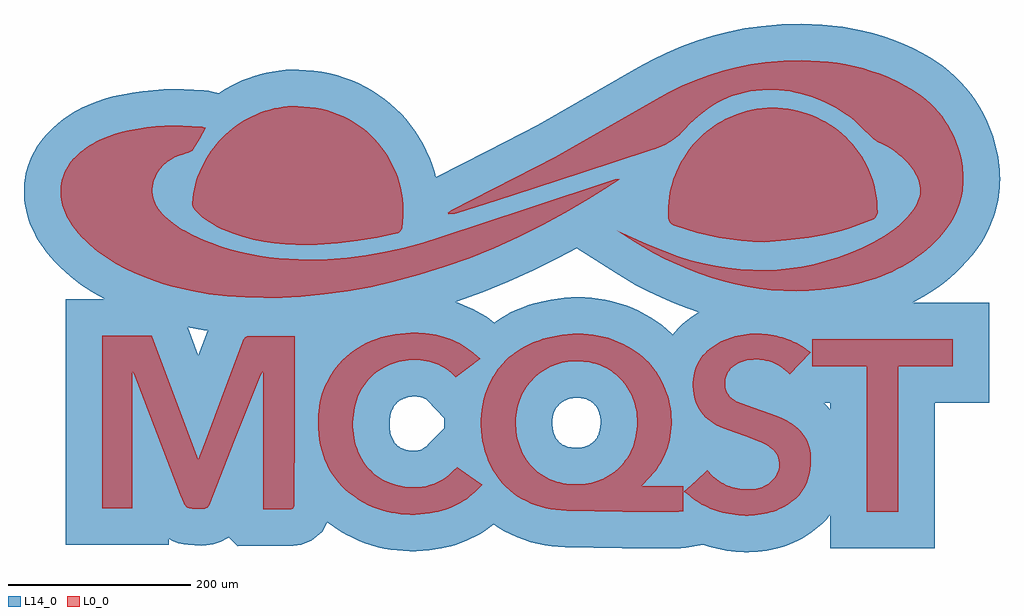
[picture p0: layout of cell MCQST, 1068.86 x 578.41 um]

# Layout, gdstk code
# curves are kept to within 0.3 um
import gdstk
lib = gdstk.Library(unit=1e-6, precision=1e-09)
def P(c, l, *ps):  # polygons
    for p in ps: c.add(gdstk.Polygon(p, *l))
L0_0 = (0, 0)
L14_0 = (14, 0)

mcqst = lib.new_cell('MCQST')
P(mcqst, L0_0, [(388.625,-245.25),(388.625,-85.7),(328.925,-85.7),(328.925,-56.3),(482.725,-56.3),(482.725,-85.45),(423.025,-85.45),(423.025,-245.25)],
  [(-244.875,-242.5),(-272.475,-242.4),(-272.475,-92.5),(-273.625,-92),(-276.275,-97.65),(-331.025,-236.85),(-332.825,-239.55),(-335.175,-241.2),(-340.325,-242),(-350.325,-241.6),(-353.575,-241),(-357.075,-239.05),(-359.675,-235.3),(-413.425,-95),(-416.125,-91.75),(-416.125,-241.15),(-448.725,-241.15),(-448.725,-52.5),(-394.375,-52.5),(-343.725,-188.1),(-293.475,-55.65),(-291.875,-53.95),(-288.425,-52.9),(-237.925,-52.9),(-238.275,-237.3),(-238.875,-240.05),(-240.325,-241.8)],
  [(182.775,-244.95),(121.325,-244.8),(59.875,-243.8),(48.175,-242.9),(31.475,-239.65),(20.975,-236.05),(11.075,-231.25),(6.375,-228.4),(-2.525,-221.65),(-6.725,-217.8),(-14.425,-208.95),(-17.975,-204),(-23.425,-194.6),(-25.775,-189.6),(-29.625,-179.05),(-32.375,-167.95),(-33.925,-156.5),(-34.225,-144.85),(-33.275,-133.1),(-30.975,-121.55),(-29.325,-115.85),(-24.925,-104.8),(-22.175,-99.45),(-17.375,-91.75),(-11.725,-84.45),(-7.775,-80.15),(71.625,-80.15),(64.575,-80.45),(57.775,-81.4),(51.225,-83),(44.975,-85.15),(39.075,-87.85),(33.525,-91.1),(28.375,-94.85),(23.625,-99.05),(15.475,-108.8),(10.725,-117.15),(8.225,-123.15),(6.275,-129.45),(4.975,-136.05),(4.275,-142.95),(4.275,-150.25),(6.025,-164.55),(10.125,-177.4),(14.575,-186),(18.175,-191.2),(22.275,-195.95),(26.825,-200.25),(31.825,-204),(37.275,-207.3),(43.075,-210),(49.275,-212.15),(55.825,-213.75),(62.725,-214.7),(69.925,-215.05),(77.125,-214.75),(87.375,-213.1),(93.775,-211.25),(99.875,-208.85),(108.275,-204.15),(115.775,-198.35),(122.275,-191.45),(127.725,-183.55),(130.675,-177.75),(133.125,-171.6),(135.725,-161.65),(136.725,-154.65),(137.025,-143.75),(135.875,-133.4),(133.375,-123.65),(129.625,-114.7),(126.425,-109.15),(122.775,-104.05),(118.625,-99.35),(111.575,-93.1),(106.375,-89.6),(100.775,-86.6),(94.825,-84.1),(88.575,-82.2),(81.975,-80.9),(71.625,-80.15),(-7.775,-80.15),(-0.325,-73.45),(7.725,-67.65),(16.675,-62.55),(23.225,-59.6),(30.175,-56.95),(41.375,-53.75),(55.225,-51.25),(66.675,-50.2),(77.975,-50.15),(89.075,-51.15),(105.325,-54.75),(110.625,-56.5),(121.025,-60.95),(131.175,-66.6),(139.725,-72.55),(146.425,-78.4),(152.425,-84.8),(160.175,-95.35),(164.475,-102.95),(168.025,-110.9),(171.975,-123.35),(174.275,-136.2),(174.775,-144.85),(174.525,-153.55),(173.475,-162.2),(171.625,-170.7),(167.225,-183.1),(163.225,-191),(158.825,-197.8),(154.275,-203.5),(141.625,-217.35),(187.325,-217.35),(187.325,-244.35)],
  [(255.275,-249.2),(244.575,-248.45),(234.025,-246.7),(227.175,-244.95),(217.275,-241.5),(205.125,-235.4),(187.975,-223.1),(213.975,-199.8),(219.975,-206.05),(226.525,-211.2),(233.575,-215.25),(241.175,-218.2),(249.325,-220),(256.725,-220.65),(265.575,-220.2),(273.975,-217.95),(277.925,-216.05),(283.475,-212.05),(287.125,-208.25),(290.025,-203.7),(291.925,-198.8),(292.675,-193.85),(292.325,-188.9),(290.875,-184.15),(289.775,-181.9),(286.675,-177.75),(282.425,-174.25),(279.375,-172.4),(269.475,-167.65),(227.425,-151.9),(217.425,-146.05),(211.875,-141.35),(207.175,-136),(205.225,-133.05),(203.425,-129.95),(200.675,-123.3),(199.625,-119.65),(198.375,-111.9),(198.375,-99.9),(200.625,-89.15),(204.975,-79.6),(211.375,-71.25),(216.775,-66.35),(223.025,-61.95),(229.225,-58.5),(235.025,-56),(241.025,-53.9),(250.425,-51.6),(256.875,-50.65),(266.725,-50.05),(279.925,-50.8),(292.875,-53.2),(305.225,-57.35),(316.625,-63.1),(326.975,-70.2),(304.325,-94.35),(297.325,-88.3),(291.375,-84.45),(284.925,-81.5),(278.075,-79.45),(271.075,-78.4),(260.525,-78.7),(253.825,-80.15),(247.525,-82.65),(240.425,-87.5),(237.275,-91.1),(235.625,-93.85),(233.975,-98.45),(233.425,-101.95),(233.375,-105.6),(234.175,-110.7),(235.975,-115.15),(237.725,-117.75),(241.075,-121.1),(243.775,-122.95),(265.025,-131.35),(294.725,-142.1),(304.525,-147.45),(312.975,-153.85),(317.675,-158.8),(321.525,-164.35),(323.125,-167.4),(325.575,-174.05),(326.425,-177.65),(327.275,-185.5),(326.725,-198.35),(324.025,-210.05),(318.975,-220.45),(314.325,-226.7),(308.625,-232.3),(305.325,-234.9),(295.125,-241.1),(282.775,-245.8),(269.325,-248.5)],
  [(-111.325,-248.15),(-121.875,-247.55),(-132.225,-246.05),(-142.425,-243.5),(-152.475,-239.85),(-162.275,-235.15),(-172.375,-228.85),(-177.325,-225.2),(-186.175,-217.25),(-193.725,-208.5),(-199.975,-199),(-204.925,-188.7),(-206.925,-183.3),(-209.975,-171.95),(-211.825,-159.95),(-212.425,-148.8),(-212.175,-139.2),(-211.175,-129.85),(-209.325,-120.8),(-206.625,-112),(-203.025,-103.5),(-198.425,-95.3),(-192.875,-87.45),(-185.775,-79.35),(-177.375,-71.7),(-172.975,-68.35),(-163.725,-62.5),(-154.025,-57.8),(-143.825,-54.15),(-133.175,-51.55),(-122.125,-49.85),(-110.725,-49.1),(-94.725,-49.6),(-83.125,-51.3),(-75.525,-53.15),(-68.125,-55.65),(-60.875,-58.75),(-50.375,-64.65),(-34.525,-77.5),(-61.425,-98),(-68.825,-91),(-74.375,-87.2),(-80.375,-84.1),(-89.925,-80.8),(-96.575,-79.45),(-103.375,-78.8),(-113.725,-79.05),(-120.575,-80.1),(-127.325,-81.8),(-133.875,-84.15),(-140.175,-87.15),(-148.975,-92.85),(-156.775,-100),(-163.475,-108.85),(-168.675,-119.3),(-172.175,-130.85),(-173.925,-143.1),(-173.925,-155.6),(-172.025,-168),(-169.675,-175.95),(-166.425,-183.6),(-162.325,-190.75),(-159.925,-194.15),(-154.375,-200.35),(-147.925,-205.8),(-140.525,-210.35),(-132.075,-213.9),(-127.075,-215.45),(-117.275,-217.55),(-107.675,-218.3),(-98.375,-217.7),(-89.325,-215.65),(-80.575,-212.15),(-76.325,-209.8),(-68.125,-203.95),(-60.225,-196.45),(-32.775,-215.3),(-40.975,-223.85),(-49.775,-231.1),(-59.325,-237.05),(-66.075,-240.25),(-76.825,-244),(-84.425,-245.7),(-100.625,-247.8)],
  [(-271.725,-10.75),(-291.875,-10.3),(-311.925,-9),(-331.825,-6.65),(-351.625,-3.25),(-361.525,-1.05),(-371.325,1.45),(-390.875,7.45),(-412.975,16.1),(-423.625,21.15),(-438.975,29.75),(-448.775,36.3),(-458.125,43.5),(-471.275,55.75),(-479.025,64.75),(-484.025,72),(-488.225,79.65),(-491.425,87.85),(-493.575,96.65),(-494.425,104.05),(-494.225,111.1),(-492.225,121),(-488.275,130.15),(-484.625,135.85),(-480.275,141.3),(-472.225,149.15),(-462.675,156.2),(-455.975,160.1),(-448.975,163.5),(-434.375,168.85),(-426.825,170.95),(-409.425,174.55),(-389.975,176.9),(-380.175,177.5),(-360.625,177.6),(-340.975,176.6),(-335.175,175.35),(-342.025,163.3),(-349.025,151.85),(-350.425,150.3),(-354.575,148.1),(-365.125,144.75),(-372.825,141.15),(-381.325,134.8),(-387.775,126.95),(-389.525,123.95),(-392.075,117.8),(-393.525,111.45),(-393.775,108.3),(-393.425,101.95),(-392.775,98.8),(-391.875,95.7),(-389.175,89.75),(-387.425,86.9),(-382.975,81.45),(-374.175,73.45),(-367.925,68.75),(-358.075,62.5),(-351.175,58.8),(-336.975,52.35),(-319.325,45.75),(-298.325,39.75),(-276.975,35.5),(-255.275,32.7),(-244.325,31.8),(-222.875,31),(-201.575,31.45),(-180.525,33.1),(-159.575,35.85),(-138.825,39.6),(-118.175,44.3),(-97.675,49.8),(-77.275,56.05),(111.475,118.45),(114.475,119.25),(117.925,119.15),(83.675,97.2),(58.475,82.35),(32.875,68.5),(6.825,55.6),(-19.625,43.7),(-46.475,32.85),(-73.825,23.05),(-101.575,14.35),(-129.825,6.75),(-154.925,1.05),(-180.125,-3.6),(-205.575,-7.1),(-231.225,-9.4),(-251.525,-10.4)],
  [(276.025,50.05),(251.025,51.75),(226.375,55.25),(202.125,60.7),(190.125,64.2),(178.275,68.2),(174.925,69.8),(172.775,71.9),(171.525,74.7),(170.925,83.7),(172.075,99.35),(175.275,114.3),(178.525,123.9),(182.525,133.05),(187.325,141.8),(195.875,154),(202.425,161.5),(213.325,171.6),(221.275,177.5),(229.725,182.75),(238.625,187.25),(252.675,192.55),(262.525,195),(274.025,196.8),(285.475,197.4),(296.725,196.9),(307.775,195.3),(318.525,192.65),(333.925,186.85),(343.625,181.8),(352.825,175.9),(361.425,169.1),(369.325,161.5),(379.825,148.7),(388.425,134.35),(394.925,118.55),(397.975,107.25),(399.075,101.15),(400.225,88.8),(400.475,82.55),(400.075,80.6),(398.325,77.55),(396.725,76),(387.375,71.85),(369.975,65.45),(352.175,60.35),(343.175,58.25),(324.875,55.05)],
  [(-224.925,47.3),(-248.575,48.05),(-260.275,49.15),(-271.875,50.85),(-283.425,53.1),(-294.875,56.05),(-306.275,59.7),(-323.175,67.1),(-333.625,73.45),(-340.825,79.15),(-347.475,85.75),(-348.625,87.3),(-350.025,91.15),(-349.725,98.1),(-348.075,108.15),(-345.525,117.95),(-342.075,127.45),(-335.325,141),(-329.875,149.5),(-323.725,157.5),(-316.925,164.95),(-309.525,171.85),(-297.425,180.9),(-288.775,186.05),(-279.725,190.45),(-265.425,195.45),(-255.525,197.65),(-245.425,198.9),(-227.925,198.75),(-221.375,198.2),(-214.975,197.35),(-202.525,194.55),(-190.625,190.5),(-179.425,185.2),(-168.925,178.85),(-163.975,175.25),(-154.725,167.35),(-146.325,158.55),(-138.925,148.9),(-132.575,138.5),(-127.325,127.45),(-123.275,115.85),(-120.475,103.75),(-119.575,97.55),(-118.825,84.85),(-119.475,71.9),(-120.375,65.3),(-121.675,62.8),(-124.075,60.6),(-125.775,59.85),(-147.375,55.2),(-169.075,51.55),(-190.975,48.95),(-213.025,47.55)],
  [(311.125,-3.35),(297.575,-3.1),(270.825,-0.75),(257.575,1.35),(244.425,4.05),(218.475,11.1),(192.875,20.35),(167.675,31.75),(155.225,38.25),(134.925,50.25),(115.325,62.6),(148.075,47.95),(181.425,34.8),(195.175,30.6),(208.925,27.1),(222.675,24.25),(236.325,22.1),(249.975,20.6),(263.525,19.8),(277.075,19.65),(290.575,20.25),(304.025,21.5),(317.425,23.5),(330.775,26.2),(344.025,29.6),(357.275,33.75),(370.425,38.6),(383.525,44.2),(396.575,50.6),(408.125,57.15),(418.975,64.7),(428.975,73.4),(437.875,83.4),(443.325,91.95),(446.425,100.4),(447.125,106.05),(446.175,114.65),(442.825,123.4),(437.425,132.1),(431.225,139.3),(424.325,145.65),(411.375,154.45),(397.625,161.75),(375.275,182.95),(364.625,190.95),(349.175,200.15),(338.525,205.25),(321.975,211.25),(310.575,214.1),(292.875,216.6),(280.675,217),(273.875,216.75),(267.175,216.15),(254.275,213.95),(242.025,210.4),(230.325,205.55),(219.225,199.5),(213.925,196),(203.725,188.15),(198.875,183.8),(181.375,166.15),(172.475,159.8),(162.775,154.8),(152.025,150.85),(-29.525,91.5),(-62.825,81.5),(-69.525,80.55),(-70.175,82.35),(-65.275,85.75),(47.725,143.55),(157.775,206.7),(171.875,214.4),(186.175,221.4),(200.725,227.7),(215.525,233.2),(230.575,237.95),(245.925,241.85),(261.575,244.9),(277.475,247.05),(297.425,248.7),(317.225,249.2),(336.775,248.5),(356.175,246.45),(375.275,242.9),(384.725,240.5),(403.425,234.4),(421.775,226.45),(430.825,221.75),(442.525,214.6),(453.125,206.6),(462.625,197.75),(470.975,188),(478.125,177.4),(484.075,165.9),(488.825,153.45),(492.275,140.15),(493.875,129.65),(494.425,119.55),(493.475,106.6),(491.575,97.35),(488.725,88.35),(483.525,76.95),(476.725,66.1),(468.425,55.75),(458.775,46),(448.725,37.45),(438.125,29.9),(427.125,23.25),(415.675,17.5),(403.825,12.55),(391.675,8.4),(379.175,4.9),(352.375,-0.25),(324.775,-2.95)])
P(mcqst, L14_0, [(254.43,-289.2),(240.088,-288.202),(230.269,-286.741),(220.67,-284.664),(209.275,-281.189),(190.15,-284.444),(184.541,-284.954),(120.951,-284.8),(58.533,-283.784),(43.311,-282.61),(35.862,-281.556),(20.712,-278.192),(5.729,-273.052),(-8.549,-266.13),(-20.112,-258.674),(-31.051,-266.73),(-40.577,-272.404),(-55.578,-279.133),(-66.379,-282.629),(-77.094,-285.032),(-90.84,-287.06),(-104.723,-288.032),(-118.9,-287.892),(-125.876,-287.361),(-139.846,-285.334),(-154.158,-281.756),(-161.13,-279.408),(-174.667,-273.732),(-181.456,-270.269),(-195.281,-261.658),(-202.268,-256.494),(-208.016,-266.944),(-219.705,-276.684),(-230.783,-281.02),(-239.665,-282.5),(-300.517,-282.599),(-310.266,-272.919),(-318.933,-277.95),(-327.368,-280.762),(-334.941,-281.876),(-347.653,-281.82),(-359.464,-280.7),(-365.355,-279.326),(-371.989,-276.774),(-376.125,-274.436),(-376.125,-281.15),(-488.725,-281.15),(-488.725,-118.717),(-106.825,-118.717),(-112.765,-119.342),(-118.32,-121.009),(-123.411,-123.734),(-127.382,-127.156),(-130.061,-131.017),(-132.023,-135.582),(-133.548,-141.712),(-134.125,-148.219),(-133.787,-154.717),(-132.555,-160.675),(-130.619,-165.736),(-127.443,-170.659),(-123.358,-174.104),(-119.031,-176.066),(-113.74,-177.524),(-107.266,-178.282),(-101.206,-177.426),(-95.408,-174.461),(-91.672,-171.368),(-74.129,-153.599),(-74.174,-142.838),(-92.853,-123.035),(-97.992,-120.158),(71.331,-120.158),(65.087,-120.736),(59.902,-122.275),(55.429,-124.577),(51.75,-127.514),(48.631,-131.214),(46.344,-135.517),(44.823,-140.493),(44.19,-146.506),(44.566,-152.548),(45.432,-157.358),(47.45,-162.837),(50.465,-167.502),(54.03,-170.712),(58.219,-172.961),(63.456,-174.464),(70.208,-175.042),(75.177,-174.711),(79.51,-173.811),(82.949,-172.591),(86.236,-170.757),(88.946,-168.66),(91.763,-165.501),(95.22,-158.774),(96.364,-154.473),(97.011,-149.147),(96.939,-143.967),(96.24,-139.279),(93.423,-131.893),(91.613,-129.154),(88.293,-125.7),(341.399,-125.7),(348.625,-133.42),(348.625,-125.7),(88.293,-125.7),(84.726,-123.282),(81.605,-121.865),(76.105,-120.485),(71.331,-120.158),(-97.992,-120.158),(-102.45,-119.035),(-106.825,-118.717),(-488.725,-118.717),(-488.725,-43.231),(-355.14,-43.231),(-343.516,-74.39),(-333.142,-46.772),(-355.14,-43.231),(-488.725,-43.231),(-488.725,-12.5),(-445.489,-12.5),(-453.792,-8.008),(-466.155,-0.31),(-483.687,12.722),(-500.317,28.224),(-505.597,34.098),(-512.986,43.464),(70.662,43.464),(51.273,32.974),(23.912,19.426),(-3.919,6.904),(-32.229,-4.536),(-62.485,-15.315),(-48.748,-20.307),(-38.539,-25.228),(-27.548,-31.744),(-19.561,-37.888),(-13.854,-33.953),(-1.116,-26.707),(12.365,-20.874),(22.473,-17.419),(32.142,-14.81),(50.077,-11.578),(64.742,-10.238),(79.767,-10.176),(94.666,-11.522),(109.512,-14.442),(124.337,-18.904),(131.614,-21.814),(145.577,-28.63),(152.499,-32.742),(164.338,-40.999),(175.923,-51.33),(182.504,-43.52),(187.075,-39.124),(196.721,-31.391),(204.561,-26.419),(177.781,-16.702),(149.845,-4.064),(135.777,3.28),(114.081,16.106),(70.662,43.464),(-512.986,43.464),(-518.081,51.014),(-522.359,58.474),(-527.969,71.133),(-532.043,85.031),(-533.887,95.854),(-534.425,108.808),(-533.264,120.997),(-530.397,133.019),(-528.356,138.863),(-523.389,149.345),(-517.046,159.288),(-510.097,167.977),(-502.62,175.609),(-493.531,183.354),(-484.266,189.888),(-470.007,197.834),(-455.546,203.918),(-446.145,207.094),(-436.623,209.744),(-416.033,214.01),(-404.525,215.672),(-381.501,217.494),(-359.711,217.606),(-337.391,216.47),(-332.302,215.812),(-321.241,213.078),(-313.647,217.984),(-301.765,224.332),(-289.093,229.75),(-275.917,234.062),(-262.419,237.064),(-247.746,238.864),(-225.794,238.712),(-208.443,236.834),(-199.889,235.136),(-191.636,233.056),(-175.617,227.6),(-167.863,224.17),(-153.365,216.387),(-146.351,211.892),(-133.235,201.823),(-127.189,196.382),(-115.893,184.54),(-105.987,171.627),(-101.475,164.654),(-97.358,157.499),(-90.317,142.676),(-87.401,134.947),(-83.398,121.41),(28.659,178.728),(138.233,241.604),(153.487,249.934),(169.426,257.736),(185.801,264.826),(202.53,271.044),(219.621,276.438),(237.167,280.896),(255.063,284.384),(273.144,286.828),(295.269,288.658),(317.027,289.208),(328.459,289.032),(350.731,287.436),(361.951,286.04),(384.205,281.902),(406.531,275.686),(417.581,271.826),(428.525,267.364),(450.022,256.853),(457.699,252.438),(472.087,242.632),(485.306,231.577),(491.539,225.413),(502.844,212.207),(512.479,197.926),(516.818,190.141),(524.011,174.076),(529.457,156.956),(532.362,143.306),(533.671,133.714),(534.357,124.392),(534.297,114.721),(533.643,105.451),(532.316,96.209),(527.656,78.268),(522.723,66.001),(518.593,57.684),(509.323,42.894),(498.235,29.062),(492.221,22.66),(479.748,11.125),(473.288,5.867),(460.1,-3.53),(446.317,-11.857),(437.628,-16.3),(522.725,-16.3),(522.725,-125.45),(463.025,-125.45),(463.025,-285.25),(348.625,-285.25),(348.625,-247.872),(339.693,-258.084),(329.086,-267.103),(317.427,-274.633),(308.092,-279.222),(298.538,-282.846),(284.087,-286.622),(269.299,-288.708)])
mcqst.add(gdstk.FlexPath([(328.925,-56.3),(328.925,-56.3)], 0, ends="flush", simple_path=True, layer=0, datatype=0))  # L0_0

lib.write_gds('MCQST.gds')
